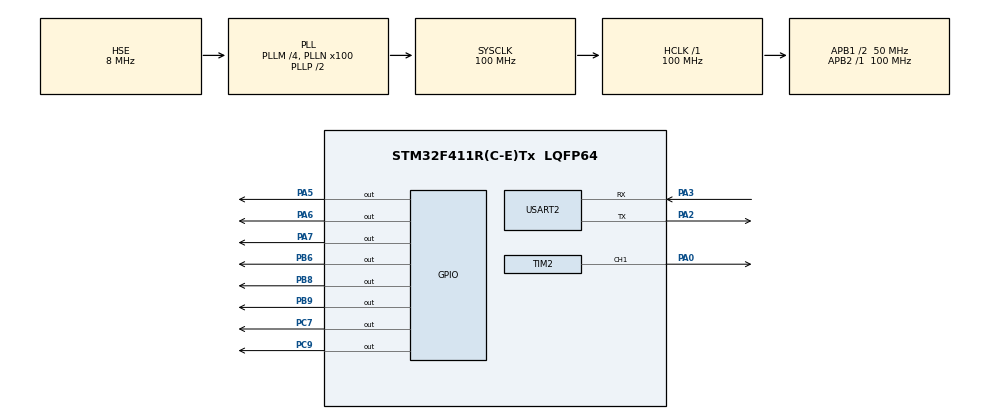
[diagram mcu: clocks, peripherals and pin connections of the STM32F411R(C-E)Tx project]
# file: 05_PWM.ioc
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Mcu.Family=STM32F4
Mcu.Name=STM32F411R(C-E)Tx
Mcu.Package=LQFP64
NVIC.PriorityGroup=NVIC_PRIORITYGROUP_4
NVIC.USART2_IRQn=true\:0\:0\:false\:false\:true\:true\:true\:true
PA0-WKUP.Signal=S_TIM2_CH1_ETR
PA13.Mode=Serial_Wire
PA13.Signal=SYS_JTMS-SWDIO
PA14.Mode=Serial_Wire
PA14.Signal=SYS_JTCK-SWCLK
PA2.Mode=Asynchronous
PA2.Signal=USART2_TX
PA3.Mode=Asynchronous
PA3.Signal=USART2_RX
PA5.Signal=GPIO_Output
PA6.Signal=GPIO_Output
PA7.Signal=GPIO_Output
PB6.Signal=GPIO_Output
PB8.Signal=GPIO_Output
PB9.Signal=GPIO_Output
PC7.Signal=GPIO_Output
PC9.Signal=GPIO_Output
PH0\ -\ OSC_IN.Mode=HSE-External-Oscillator
PH0\ -\ OSC_IN.Signal=RCC_OSC_IN
PH1\ -\ OSC_OUT.Mode=HSE-External-Oscillator
PH1\ -\ OSC_OUT.Signal=RCC_OSC_OUT
ProjectManager.HeapSize=0x200
ProjectManager.StackSize=0x400
ProjectManager.TargetToolchain=STM32CubeIDE
RCC.48MHZClocksFreq_Value=50000000
RCC.AHBFreq_Value=100000000
RCC.APB1CLKDivider=RCC_HCLK_DIV2
RCC.APB1Freq_Value=50000000
RCC.APB1TimFreq_Value=100000000
RCC.APB2Freq_Value=100000000
RCC.APB2TimFreq_Value=100000000
RCC.CortexFreq_Value=100000000
RCC.HCLKFreq_Value=100000000
RCC.HSE_VALUE=8000000
RCC.HSI_VALUE=16000000
RCC.LSE_VALUE=32768
RCC.PLLM=4
RCC.PLLN=100
RCC.PLLSourceVirtual=RCC_PLLSOURCE_HSE
RCC.SYSCLKFreq_VALUE=100000000
RCC.SYSCLKSource=RCC_SYSCLKSOURCE_PLLCLK
RCC.VCOOutputFreq_Value=200000000
SH.S_TIM2_CH1_ETR.0=TIM2_CH1,PWM Generation1 CH1
TIM2.Channel-PWM\ Generation1\ CH1=TIM_CHANNEL_1
TIM2.Period=1000-1
TIM2.Prescaler=2000-1
USART2.VirtualMode=VM_ASYNC
VP_TIM2_VS_ClockSourceINT.Mode=Internal
board=custom

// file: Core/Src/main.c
/* USER CODE BEGIN Header */
/**
 ******************************************************************************
 * @file           : main.c
 * @brief          : Main program body
 ******************************************************************************
 * @attention
 *
 * Copyright (c) 2025 STMicroelectronics.
 * All rights reserved.
 *
 * This software is licensed under terms that can be found in the LICENSE file
 * in the root directory of this software component.
 * If no LICENSE file comes with this software, it is provided AS-IS.
 *
 ******************************************************************************
 */
/* USER CODE END Header */
#include "main.h"
#include "tim.h"
#include "usart.h"
#include "gpio.h"

/* USER CODE BEGIN Includes */
#include "led.h"
/* USER CODE END Includes */

/* USER CODE BEGIN PV */

uint8_t rxData;
uint8_t rxData1[] = "motor led left\n";
uint8_t rxData2[] = "motor led on\n";
uint8_t rxData3[] = "motor led right\n";

uint8_t leftShiftFlag = 0;
uint8_t rightShiftFlag = 0;
/* USER CODE END PV */

void SystemClock_Config(void);
/* USER CODE BEGIN PFP */

void HAL_UART_RxCpltCallback(UART_HandleTypeDef *huart)
{
  if(huart -> Instance == USART2)
  {
    HAL_UART_Receive_IT(&huart2, &rxData, sizeof(rxData));

    if(rxData == 'a')
    {
      HAL_UART_Transmit(&huart2, rxData1, sizeof(rxData1), 100);
      TIM2->CCR1 = 25;
      leftShiftFlag = 1;
    }

    else if(rxData == 'b')
    {
      HAL_UART_Transmit(&huart2, rxData2, sizeof(rxData2), 100);
      TIM2->CCR1 = 75;
      ledOn(8);
    }

    else if(rxData == 'c')
    {
      HAL_UART_Transmit(&huart2, rxData3, sizeof(rxData3), 100);
      TIM2->CCR1 = 125;
      rightShiftFlag = 1;
    }
  }
}

/* USER CODE END PFP */

int main(void)
{

  /* MCU Configuration--------------------------------------------------------*/

  /* Reset of all peripherals, Initializes the Flash interface and the Systick. */
  HAL_Init();

  /* Configure the system clock */
  SystemClock_Config();

  /* Initialize all configured peripherals */
  MX_GPIO_Init();
  MX_USART2_UART_Init();
  MX_TIM2_Init();
  /* USER CODE BEGIN 2 */

  HAL_UART_Receive_IT(&huart2, &rxData, sizeof(rxData));

  HAL_TIM_PWM_Start(&htim2, TIM_CHANNEL_1);
  // TIM3->CCR1 = 500;

  /* USER CODE END 2 */

  /* Infinite loop */
  /* USER CODE BEGIN WHILE */
  while (1)
  {
    if(leftShiftFlag == 1)
    {
      ledLeftshift(8);
      leftShiftFlag = 0;
    }

    if(rightShiftFlag == 1)
    {
      ledRightshift(8);
      rightShiftFlag = 0;
    }

    //    for(uint16_t i = 0; i < 1000; i++)
    //    {
    //      TIM3->CCR1 = i;
    //      HAL_Delay(5);
    //    }

    /* USER CODE END WHILE */

  }
}

void SystemClock_Config(void)
{
  RCC_OscInitTypeDef RCC_OscInitStruct = {0};
  RCC_ClkInitTypeDef RCC_ClkInitStruct = {0};

  /** Configure the main internal regulator output voltage
   */
  __HAL_RCC_PWR_CLK_ENABLE();
  __HAL_PWR_VOLTAGESCALING_CONFIG(PWR_REGULATOR_VOLTAGE_SCALE1);

  /** Initializes the RCC Oscillators according to the specified parameters
   * in the RCC_OscInitTypeDef structure.
   */
  RCC_OscInitStruct.OscillatorType = RCC_OSCILLATORTYPE_HSE;
  RCC_OscInitStruct.HSEState = RCC_HSE_ON;
  RCC_OscInitStruct.PLL.PLLState = RCC_PLL_ON;
  RCC_OscInitStruct.PLL.PLLSource = RCC_PLLSOURCE_HSE;
  RCC_OscInitStruct.PLL.PLLM = 4;
  RCC_OscInitStruct.PLL.PLLN = 100;
  RCC_OscInitStruct.PLL.PLLP = RCC_PLLP_DIV2;
  RCC_OscInitStruct.PLL.PLLQ = 4;
  if (HAL_RCC_OscConfig(&RCC_OscInitStruct) != HAL_OK)
  {
    Error_Handler();
  }

  /** Initializes the CPU, AHB and APB buses clocks
   */
  RCC_ClkInitStruct.ClockType = RCC_CLOCKTYPE_HCLK|RCC_CLOCKTYPE_SYSCLK
      |RCC_CLOCKTYPE_PCLK1|RCC_CLOCKTYPE_PCLK2;
  RCC_ClkInitStruct.SYSCLKSource = RCC_SYSCLKSOURCE_PLLCLK;
  RCC_ClkInitStruct.AHBCLKDivider = RCC_SYSCLK_DIV1;
  RCC_ClkInitStruct.APB1CLKDivider = RCC_HCLK_DIV2;
  RCC_ClkInitStruct.APB2CLKDivider = RCC_HCLK_DIV1;

  if (HAL_RCC_ClockConfig(&RCC_ClkInitStruct, FLASH_LATENCY_3) != HAL_OK)
  {
    Error_Handler();
  }
}

void Error_Handler(void)
{
  __disable_irq();
  while (1)
  {
  }
}
